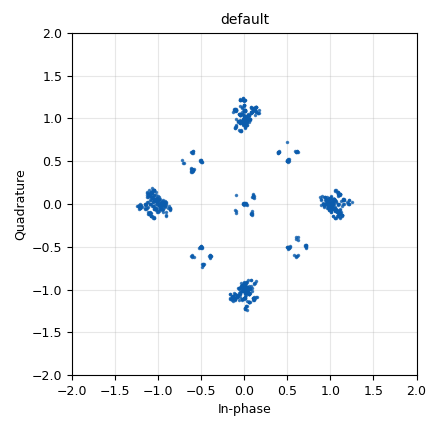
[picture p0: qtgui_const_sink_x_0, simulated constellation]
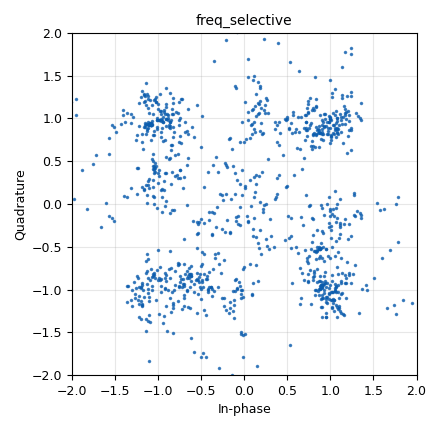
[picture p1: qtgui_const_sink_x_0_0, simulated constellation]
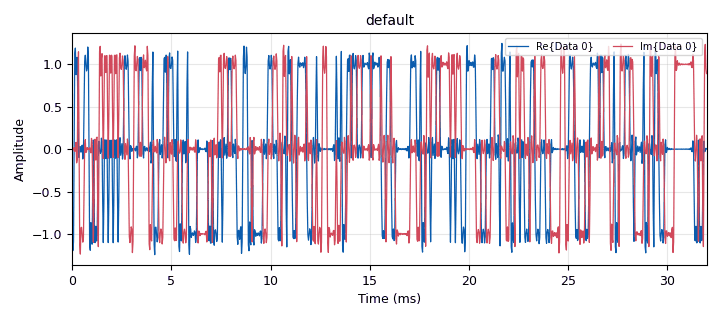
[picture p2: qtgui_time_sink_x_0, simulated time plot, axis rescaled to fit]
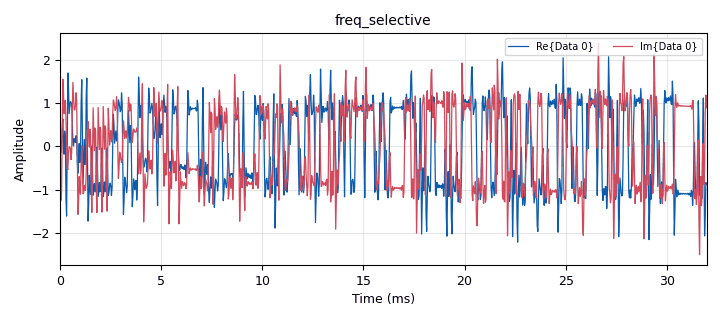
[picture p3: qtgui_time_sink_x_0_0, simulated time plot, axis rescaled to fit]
options:
  parameters:
    generate_options: qt_gui
    id: default1
    output_language: python
    title: default1
  states: {}

blocks:
- name: samp_rate
  id: variable
  parameters:
    value: '32000'
  states: {}
- name: analog_random_source_x_0
  id: analog_random_source_x
  parameters:
    max: '8'
    min: '0'
    num_samps: '1000'
    repeat: 'True'
    type: byte
  states: {}
- name: blocks_throttle_0
  id: blocks_throttle
  parameters:
    samples_per_second: samp_rate
    type: complex
  states: {}
- name: channels_selective_fading_model_0
  id: channels_selective_fading_model
  parameters:
    LOS: 'False'
    N: '8'
    delays: (0.0,0.1,1.3)
    fDTs: 10.0/samp_rate
    mags: (1,0.99,0.97)
    ntaps: '8'
    seed: '0'
  states: {}
- name: digital_psk_mod_0
  id: digital_psk_mod
  parameters:
    constellation_points: '4'
    differential: 'True'
    excess_bw: '0.35'
    mod_code: '"gray"'
    samples_per_symbol: '2'
  states: {}
- name: qtgui_const_sink_x_0
  id: qtgui_const_sink_x
  parameters:
    name: '"default"'
    size: '1024'
    type: complex
  states: {}
- name: qtgui_const_sink_x_0_0
  id: qtgui_const_sink_x
  parameters:
    name: '"freq_selective"'
    size: '1024'
    type: complex
  states: {}
- name: qtgui_time_sink_x_0
  id: qtgui_time_sink_x
  parameters:
    name: '"default"'
    size: '1024'
    srate: samp_rate
    type: complex
  states: {}
- name: qtgui_time_sink_x_0_0
  id: qtgui_time_sink_x
  parameters:
    name: '"freq_selective"'
    size: '1024'
    srate: samp_rate
    type: complex
  states: {}

connections:
- [analog_random_source_x_0, '0', digital_psk_mod_0, '0']
- [blocks_throttle_0, '0', channels_selective_fading_model_0, '0']
- [blocks_throttle_0, '0', qtgui_const_sink_x_0, '0']
- [blocks_throttle_0, '0', qtgui_time_sink_x_0, '0']
- [channels_selective_fading_model_0, '0', qtgui_const_sink_x_0_0, '0']
- [channels_selective_fading_model_0, '0', qtgui_time_sink_x_0_0, '0']
- [digital_psk_mod_0, '0', blocks_throttle_0, '0']

metadata:
  file_format: 1
